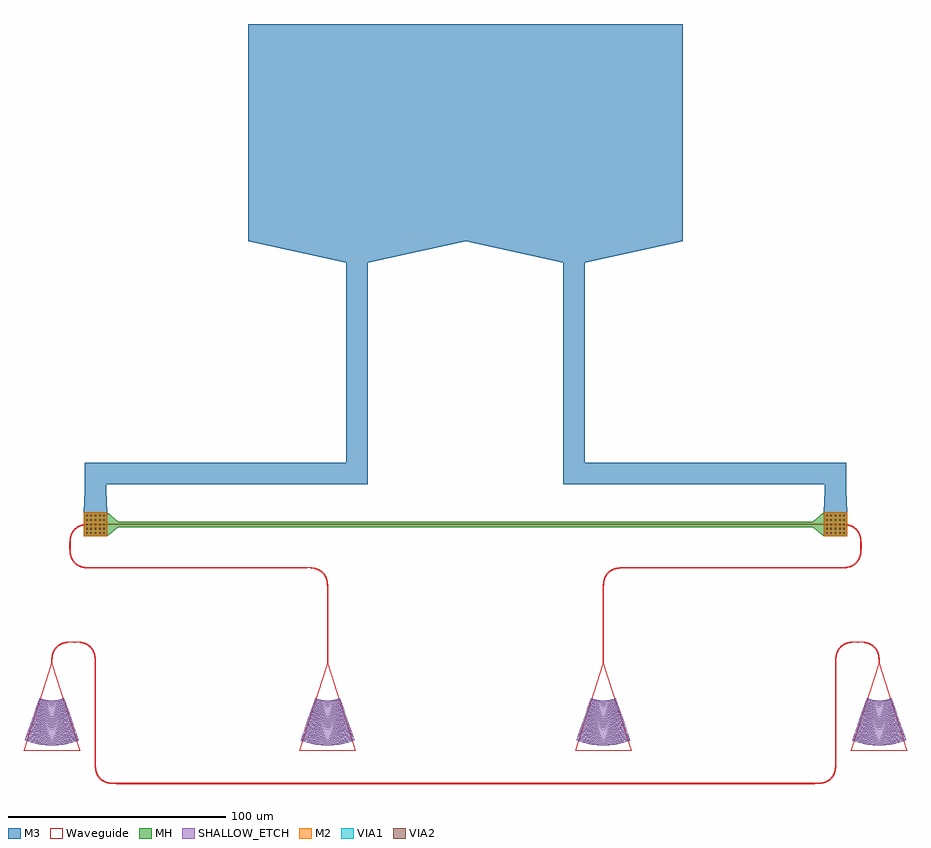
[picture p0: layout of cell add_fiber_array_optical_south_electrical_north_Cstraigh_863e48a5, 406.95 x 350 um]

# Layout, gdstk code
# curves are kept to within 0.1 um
from math import pi, radians
import gdstk
lib = gdstk.Library(unit=1e-6, precision=1e-09)
def R(c, l, rs):  # rectangles x0, y0, x1, y1
    for r in rs: c.add(gdstk.rectangle(r[:2], r[2:], *l))
def A(c, l, x, y, w, h, nx, ny, dx, dy):  # array of equal rectangles
    R(c, l, [(x+i*dx, y+j*dy, x+i*dx+w, y+j*dy+h) for i in range(nx) for j in range(ny)])
def P(c, l, *ps):  # polygons
    for p in ps: c.add(gdstk.Polygon(p, *l))
Waveguide = (1, 0)
SHALLOW_ETCH = (2, 6)
VIA2 = (43, 0)
VIA1 = (44, 0)
M2 = (45, 0)
MH = (47, 0)
M3 = (49, 0)

straight_heater_metal_l3 = lib.new_cell('straight_heater_metal_L320_LUS0_LU5_LS0p1_LSI0p1_CSstri_0c6e0cb8')
R(straight_heater_metal_l3, Waveguide, [(0,-0.25,320,0.25)])
A(straight_heater_metal_l3, VIA2, -14.75, -4.35, 0.7, 0.7, 5, 5, 2, 2)
A(straight_heater_metal_l3, VIA2, 326.05, -4.35, 0.7, 0.7, 5, 5, 2, 2)
A(straight_heater_metal_l3, VIA1, -14.75, -4.35, 0.7, 0.7, 5, 5, 2, 2)
A(straight_heater_metal_l3, VIA1, 326.05, -4.35, 0.7, 0.7, 5, 5, 2, 2)
R(straight_heater_metal_l3, M2, [(-15.9,-5.5,-4.9,5.5), (324.9,-5.5,335.9,5.5)])
P(straight_heater_metal_l3, MH, [(-15.9,-5.5),(-15.9,5.5),(-4.9,5.5),(0.1,1.25),(319.9,1.25),(324.9,5.5),(335.9,5.5),(335.9,-5.5),(324.9,-5.5),(319.9,-1.25),(0.1,-1.25),(-4.9,-5.5)])
R(straight_heater_metal_l3, M3, [(-15.9,-5.5,-4.9,5.5), (324.9,-5.5,335.9,5.5)])

grating_coupler_te_pte_t = lib.new_cell('grating_coupler_te_Pte_TL16p6_TA35_TEA9_W1p53_FA15_GLW0_d78374c0')
P(grating_coupler_te_pte_t, Waveguide, [(40.551,-12.973),(0.471,-0.25),(0.471,0.25),(40.551,12.973)])
P(grating_coupler_te_pte_t, SHALLOW_ETCH, [(16.414,-5.811),(16.3,-5.646),(16.82,-4.153),(17.178,-2.617),(17.351,-1.313),(17.409,0),(17.351,1.313),(17.178,2.617),(16.82,4.153),(16.3,5.646),(16.414,5.811),(16.61,5.77),(16.981,4.76),(17.344,3.465),(17.658,1.611),(17.743,0),(17.658,-1.611),(17.344,-3.465),(16.981,-4.76),(16.61,-5.77)],
  [(17.047,-6.03),(16.933,-5.866),(17.473,-4.315),(17.845,-2.718),(18.025,-1.364),(18.085,0),(18.025,1.364),(17.845,2.718),(17.473,4.315),(16.933,5.866),(17.047,6.03),(17.243,5.988),(17.444,5.469),(17.793,4.407),(18.066,3.325),(18.33,1.671),(18.419,0),(18.33,-1.671),(18.066,-3.325),(17.793,-4.407),(17.444,-5.469),(17.243,-5.988)],
  [(17.68,-6.25),(17.566,-6.086),(18.126,-4.477),(18.512,-2.82),(18.699,-1.415),(18.761,0),(18.699,1.415),(18.512,2.82),(18.126,4.477),(17.566,6.086),(17.68,6.25),(17.876,6.208),(17.982,5.94),(18.363,4.846),(18.665,3.729),(19.003,1.733),(19.095,0),(19.003,-1.733),(18.665,-3.729),(18.363,-4.846),(17.982,-5.94),(17.876,-6.208)],
  [(18.313,-6.469),(18.199,-6.304),(18.779,-4.638),(19.179,-2.922),(19.373,-1.466),(19.437,0),(19.373,1.466),(19.179,2.922),(18.779,4.638),(18.199,6.304),(18.313,6.469),(18.509,6.428),(18.619,6.15),(19.013,5.018),(19.326,3.861),(19.676,1.794),(19.771,0),(19.676,-1.794),(19.326,-3.861),(19.013,-5.018),(18.619,-6.15),(18.509,-6.428)],
  [(18.946,-6.689),(18.832,-6.525),(19.432,-4.8),(19.846,-3.024),(20.046,-1.517),(20.113,0),(20.046,1.517),(19.846,3.024),(19.432,4.8),(18.832,6.525),(18.946,6.689),(19.142,6.647),(19.365,6.07),(19.752,4.892),(20.055,3.69),(20.349,1.855),(20.447,0),(20.349,-1.855),(20.055,-3.69),(19.752,-4.892),(19.365,-6.07),(19.142,-6.647)],
  [(19.579,-6.908),(19.465,-6.744),(20.085,-4.961),(20.513,-3.125),(20.72,-1.568),(20.789,0),(20.72,1.568),(20.513,3.125),(20.085,4.961),(19.465,6.744),(19.579,6.908),(19.775,6.866),(20.005,6.27),(20.405,5.053),(20.718,3.812),(21.021,1.917),(21.123,0),(21.021,-1.917),(20.718,-3.812),(20.405,-5.053),(20.005,-6.27),(19.775,-6.866)],
  [(20.212,-7.128),(20.098,-6.964),(20.738,-5.123),(21.18,-3.227),(21.394,-1.619),(21.465,0),(21.394,1.619),(21.18,3.227),(20.738,5.123),(20.098,6.964),(20.212,7.128),(20.408,7.086),(20.646,6.471),(21.058,5.215),(21.381,3.934),(21.694,1.978),(21.799,0),(21.694,-1.978),(21.381,-3.934),(21.058,-5.215),(20.646,-6.471),(20.408,-7.086)],
  [(20.844,-7.347),(20.73,-7.182),(21.391,-5.284),(21.847,-3.329),(22.068,-1.67),(22.141,0),(22.068,1.67),(21.847,3.329),(21.391,5.284),(20.73,7.182),(20.844,7.347),(21.04,7.306),(21.286,6.672),(21.711,5.376),(22.044,4.056),(22.367,2.039),(22.475,0),(22.367,-2.039),(22.044,-4.056),(21.711,-5.376),(21.286,-6.672),(21.04,-7.306)],
  [(21.477,-7.567),(21.363,-7.402),(22.044,-5.446),(22.514,-3.431),(22.741,-1.721),(22.817,0),(22.741,1.721),(22.514,3.431),(22.044,5.446),(21.363,7.402),(21.477,7.567),(21.673,7.526),(21.926,6.871),(22.364,5.538),(22.707,4.177),(23.04,2.1),(23.151,0),(23.04,-2.1),(22.707,-4.177),(22.364,-5.538),(21.926,-6.871),(21.673,-7.526)],
  [(22.11,-7.786),(21.996,-7.621),(22.697,-5.607),(23.181,-3.533),(23.415,-1.773),(23.493,0),(23.415,1.773),(23.181,3.533),(22.697,5.607),(21.996,7.621),(22.11,7.786),(22.306,7.745),(22.566,7.072),(23.017,5.699),(23.37,4.299),(23.712,2.161),(23.827,0),(23.712,-2.161),(23.37,-4.299),(23.017,-5.699),(22.566,-7.072),(22.306,-7.745)],
  [(22.743,-8.006),(22.629,-7.842),(23.35,-5.769),(23.848,-3.634),(24.089,-1.824),(24.169,0),(24.089,1.824),(23.848,3.634),(23.35,5.769),(22.629,7.842),(22.743,8.006),(22.939,7.964),(23.207,7.273),(23.67,5.861),(24.033,4.421),(24.385,2.223),(24.503,0),(24.385,-2.223),(24.033,-4.421),(23.67,-5.861),(23.207,-7.273),(22.939,-7.964)],
  [(23.376,-8.225),(23.262,-8.06),(24.003,-5.93),(24.515,-3.736),(24.763,-1.875),(24.845,0),(24.763,1.875),(24.515,3.736),(24.003,5.93),(23.262,8.06),(23.376,8.225),(23.572,8.184),(23.847,7.474),(24.323,6.022),(24.696,4.543),(25.058,2.284),(25.179,0),(25.058,-2.284),(24.696,-4.543),(24.323,-6.022),(23.847,-7.474),(23.572,-8.184)],
  [(24.009,-8.445),(23.895,-8.28),(24.657,-6.092),(25.182,-3.838),(25.436,-1.926),(25.521,0),(25.436,1.926),(25.182,3.838),(24.657,6.092),(23.895,8.28),(24.009,8.445),(24.205,8.404),(24.619,7.305),(24.977,6.184),(25.359,4.665),(25.731,2.346),(25.855,0),(25.731,-2.346),(25.359,-4.665),(24.977,-6.184),(24.619,-7.305),(24.205,-8.404)],
  [(24.642,-8.664),(24.528,-8.499),(25.31,-6.253),(25.849,-3.94),(26.11,-1.977),(26.197,0),(26.11,1.977),(25.849,3.94),(25.31,6.253),(24.528,8.499),(24.642,8.664),(24.838,8.623),(25.263,7.496),(25.63,6.345),(26.022,4.787),(26.404,2.407),(26.531,0),(26.404,-2.407),(26.022,-4.787),(25.63,-6.345),(25.263,-7.496),(24.838,-8.623)],
  [(25.275,-8.884),(25.161,-8.72),(25.963,-6.415),(26.516,-4.041),(26.784,-2.028),(26.873,0),(26.784,2.028),(26.516,4.041),(25.963,6.415),(25.161,8.72),(25.275,8.884),(25.471,8.842),(25.907,7.686),(26.283,6.507),(26.686,4.908),(27.076,2.468),(27.207,0),(27.076,-2.468),(26.686,-4.908),(26.283,-6.507),(25.907,-7.686),(25.471,-8.842)],
  [(25.908,-9.103),(25.794,-8.939),(26.237,-7.767),(26.616,-6.576),(26.932,-5.367),(27.183,-4.143),(27.458,-2.079),(27.549,0),(27.458,2.079),(27.183,4.143),(26.932,5.367),(26.616,6.576),(26.237,7.767),(25.794,8.939),(25.908,9.103),(26.104,9.061),(26.551,7.877),(26.936,6.668),(27.349,5.03),(27.749,2.529),(27.849,1.266),(27.883,0),(27.849,-1.266),(27.749,-2.529),(27.349,-5.03),(26.936,-6.668),(26.551,-7.877),(26.104,-9.061)],
  [(26.54,-9.323),(26.426,-9.158),(26.88,-7.958),(27.269,-6.738),(27.593,-5.498),(27.85,-4.245),(28.131,-2.13),(28.225,0),(28.131,2.13),(27.85,4.245),(27.593,5.498),(27.269,6.738),(26.88,7.958),(26.426,9.158),(26.54,9.323),(26.736,9.282),(27.194,8.068),(27.706,6.413),(28.012,5.152),(28.25,3.876),(28.422,2.59),(28.524,1.297),(28.559,0),(28.524,-1.297),(28.422,-2.59),(28.25,-3.876),(28.012,-5.152),(27.706,-6.413),(27.194,-8.068),(26.736,-9.282)],
  [(27.173,-9.542),(27.059,-9.377),(27.524,-8.149),(27.922,-6.9),(28.254,-5.63),(28.517,-4.347),(28.805,-2.181),(28.901,0),(28.805,2.181),(28.517,4.347),(28.254,5.63),(27.922,6.9),(27.524,8.149),(27.059,9.377),(27.173,9.542),(27.369,9.501),(27.838,8.259),(28.362,6.565),(28.675,5.274),(28.919,3.968),(29.095,2.652),(29.199,1.328),(29.235,0),(29.199,-1.328),(29.095,-2.652),(28.919,-3.968),(28.675,-5.274),(28.362,-6.565),(27.838,-8.259),(27.369,-9.501)],
  [(27.806,-9.762),(27.692,-9.597),(28.168,-8.339),(28.575,-7.061),(28.914,-5.762),(29.184,-4.448),(29.479,-2.232),(29.577,0),(29.479,2.232),(29.184,4.448),(28.914,5.762),(28.575,7.061),(28.168,8.339),(27.692,9.597),(27.806,9.762),(28.002,9.721),(28.482,8.449),(28.895,7.153),(29.338,5.396),(29.587,4.06),(29.767,2.713),(29.874,1.358),(29.911,0),(29.874,-1.358),(29.767,-2.713),(29.587,-4.06),(29.338,-5.396),(28.895,-7.153),(28.482,-8.449),(28.002,-9.721)],
  [(28.439,-9.981),(28.325,-9.816),(28.812,-8.53),(29.228,-7.223),(29.575,-5.894),(29.851,-4.55),(30.153,-2.283),(30.253,0),(30.153,2.283),(29.851,4.55),(29.575,5.894),(29.228,7.223),(28.812,8.53),(28.325,9.816),(28.439,9.981),(28.635,9.94),(29.126,8.64),(29.548,7.315),(30.001,5.518),(30.256,4.151),(30.44,2.774),(30.549,1.389),(30.587,0),(30.549,-1.389),(30.44,-2.774),(30.256,-4.151),(30.001,-5.518),(29.673,-6.869),(29.126,-8.64),(28.635,-9.94)],
  [(29.072,-10.201),(28.958,-10.037),(29.455,-8.721),(29.881,-7.384),(30.236,-6.026),(30.518,-4.652),(30.826,-2.334),(30.929,0),(30.826,2.334),(30.518,4.652),(30.236,6.026),(29.881,7.384),(29.455,8.721),(28.958,10.037),(29.072,10.201),(29.268,10.159),(29.769,8.831),(30.329,7.02),(30.664,5.639),(30.925,4.243),(31.113,2.836),(31.225,1.42),(31.263,0),(31.225,-1.42),(31.113,-2.836),(30.925,-4.243),(30.664,-5.639),(30.329,-7.02),(29.769,-8.831),(29.268,-10.159)],
  [(29.705,-10.42),(29.591,-10.255),(30.099,-8.912),(30.534,-7.546),(30.897,-6.158),(31.185,-4.754),(31.5,-2.385),(31.605,0),(31.5,2.385),(31.185,4.754),(30.897,6.158),(30.534,7.546),(30.099,8.912),(29.591,10.255),(29.705,10.42),(29.901,10.379),(30.413,9.022),(30.985,7.172),(31.327,5.761),(31.593,4.335),(31.786,2.896),(31.9,1.45),(31.939,0),(31.9,-1.45),(31.786,-2.896),(31.593,-4.335),(31.327,-5.761),(30.985,-7.172),(30.413,-9.022),(29.901,-10.379)],
  [(30.338,-10.64),(30.224,-10.475),(30.743,-9.103),(31.187,-7.707),(31.558,-6.289),(31.852,-4.855),(32.174,-2.437),(32.281,0),(32.174,2.437),(31.852,4.855),(31.558,6.289),(31.187,7.707),(30.743,9.103),(30.224,10.475),(30.338,10.64),(30.534,10.599),(31.057,9.213),(31.641,7.324),(31.99,5.883),(32.262,4.426),(32.458,2.958),(32.575,1.481),(32.615,0),(32.575,-1.481),(32.458,-2.958),(32.262,-4.426),(31.99,-5.883),(31.641,-7.324),(31.057,-9.213),(30.534,-10.599)],
  [(30.971,-10.859),(30.857,-10.695),(31.387,-9.293),(31.84,-7.869),(32.219,-6.421),(32.519,-4.957),(32.848,-2.488),(32.957,0),(32.848,2.488),(32.519,4.957),(32.219,6.421),(31.84,7.869),(31.387,9.293),(30.857,10.695),(30.971,10.859),(31.167,10.817),(31.701,9.403),(32.297,7.476),(32.653,6.005),(32.931,4.518),(33.131,3.019),(33.25,1.512),(33.291,0),(33.25,-1.512),(33.131,-3.019),(32.931,-4.518),(32.653,-6.005),(32.297,-7.476),(31.701,-9.403),(31.167,-10.817)],
  [(31.604,-11.079),(31.49,-10.915),(32.03,-9.484),(32.493,-8.03),(32.879,-6.553),(33.186,-5.059),(33.521,-2.539),(33.633,0),(33.521,2.539),(33.186,5.059),(32.879,6.553),(32.493,8.03),(32.03,9.484),(31.49,10.915),(31.604,11.079),(31.8,11.037),(32.344,9.594),(32.952,7.627),(33.316,6.127),(33.6,4.61),(33.804,3.081),(33.925,1.542),(33.967,0),(33.925,-1.542),(33.804,-3.081),(33.6,-4.61),(33.316,-6.127),(32.952,-7.627),(32.344,-9.594),(31.8,-11.037)],
  [(32.237,-11.298),(32.123,-11.133),(32.674,-9.675),(33.146,-8.192),(33.54,-6.685),(33.853,-5.161),(34.195,-2.59),(34.309,0),(34.195,2.59),(33.853,5.161),(33.54,6.685),(33.146,8.192),(32.674,9.675),(32.123,11.133),(32.237,11.298),(32.433,11.257),(32.988,9.785),(33.608,7.779),(33.979,6.249),(34.268,4.701),(34.477,3.142),(34.601,1.573),(34.643,0),(34.601,-1.573),(34.477,-3.142),(34.268,-4.701),(33.979,-6.249),(33.608,-7.779),(32.988,-9.785),(32.433,-11.257)],
  [(32.869,-11.518),(32.755,-11.353),(33.318,-9.866),(33.799,-8.353),(34.201,-6.817),(34.52,-5.262),(34.869,-2.641),(34.985,0),(34.869,2.641),(34.52,5.262),(34.201,6.817),(33.799,8.353),(33.318,9.866),(32.755,11.353),(32.869,11.518),(33.065,11.477),(33.632,9.976),(34.264,7.931),(34.642,6.37),(34.937,4.793),(35.149,3.203),(35.276,1.604),(35.319,0),(35.276,-1.604),(35.149,-3.203),(34.937,-4.793),(34.642,-6.37),(34.264,-7.931),(33.632,-9.976),(33.065,-11.477)],
  [(33.502,-11.738),(33.388,-11.573),(33.962,-10.056),(34.453,-8.515),(34.862,-6.949),(35.187,-5.364),(35.543,-2.692),(35.661,0),(35.543,2.692),(35.187,5.364),(34.862,6.949),(34.453,8.515),(33.962,10.056),(33.388,11.573),(33.502,11.738),(33.698,11.697),(34.276,10.166),(34.773,8.607),(35.305,6.492),(35.606,4.885),(35.822,3.264),(35.951,1.634),(35.995,0),(35.951,-1.634),(35.822,-3.264),(35.606,-4.885),(35.305,-6.492),(34.773,-8.607),(34.276,-10.166),(33.698,-11.697)],
  [(34.135,-11.957),(34.021,-11.792),(34.605,-10.247),(35.106,-8.676),(35.523,-7.08),(35.854,-5.466),(36.216,-2.743),(36.337,0),(36.216,2.743),(35.854,5.466),(35.523,7.08),(35.106,8.676),(34.605,10.247),(34.021,11.792),(34.135,11.957),(34.331,11.916),(34.919,10.357),(35.576,8.233),(35.968,6.614),(36.274,4.976),(36.495,3.325),(36.626,1.665),(36.671,0),(36.626,-1.665),(36.495,-3.325),(36.274,-4.976),(35.968,-6.614),(35.576,-8.233),(34.919,-10.357),(34.331,-11.916)],
  [(34.768,-12.177),(34.654,-12.013),(35.249,-10.438),(35.759,-8.838),(36.183,-7.212),(36.521,-5.568),(36.89,-2.794),(37.013,0),(36.89,2.794),(36.521,5.568),(36.183,7.212),(35.759,8.838),(35.249,10.438),(34.654,12.013),(34.768,12.177),(34.964,12.135),(35.563,10.548),(36.232,8.385),(36.631,6.736),(36.943,5.068),(37.168,3.387),(37.301,1.696),(37.347,0),(37.301,-1.696),(37.168,-3.387),(36.943,-5.068),(36.631,-6.736),(36.232,-8.385),(35.563,-10.548),(34.964,-12.135)],
  [(35.401,-12.396),(35.287,-12.231),(35.893,-10.629),(36.412,-8.999),(36.844,-7.344),(37.188,-5.669),(37.564,-2.845),(37.689,0),(37.564,2.845),(37.188,5.669),(36.844,7.344),(36.412,8.999),(35.893,10.629),(35.287,12.231),(35.401,12.396),(35.597,12.355),(36.207,10.739),(36.732,9.091),(37.295,6.858),(37.612,5.16),(37.84,3.448),(37.977,1.726),(38.023,0),(37.977,-1.726),(37.84,-3.448),(37.612,-5.16),(37.295,-6.858),(36.732,-9.091),(36.207,-10.739),(35.597,-12.355)])

bend_euler_rnone_a90_p0p = lib.new_cell('bend_euler_RNone_A90_P0p5_WAFTrue_NNone_ASNone_LNone_WN_f1f833fb')
P(bend_euler_rnone_a90_p0p, Waveguide, [(0,-0.25),(0,0.25),(2.881,0.353),(3.952,0.52),(4.99,0.806),(6.431,1.505),(7.575,2.425),(8.495,3.569),(9.194,5.01),(9.48,6.048),(9.647,7.119),(9.75,10),(10.25,10),(10.158,7.205),(9.797,5.254),(9.457,4.312),(9.066,3.545),(8.5,2.715),(7.928,2.072),(7.285,1.5),(6.455,0.934),(5.688,0.543),(4.746,0.203),(2.795,-0.158)])

straight_l12p15_n2_csstr = lib.new_cell('straight_L12p15_N2_CSstrip_W0p5')
R(straight_l12p15_n2_csstr, Waveguide, [(0,-0.25,12.15,0.25)])

straight_l98p65_n2_csstr = lib.new_cell('straight_L98p65_N2_CSstrip_W0p5')
R(straight_l98p65_n2_csstr, Waveguide, [(0,-0.25,98.65,0.25)])

straight_l34p22100000000 = lib.new_cell('straight_L34p221000000000004_N2_CSstrip_W0p5')
R(straight_l34p22100000000, Waveguide, [(0,-0.25,34.221,0.25)])

straight_l45p08_n2_csstr = lib.new_cell('straight_L45p08_N2_CSstrip_W0p5')
R(straight_l45p08_n2_csstr, Waveguide, [(0,-0.25,45.08,0.25)])

straight_l321_n2_csstrip = lib.new_cell('straight_L321_N2_CSstrip_W0p5')
R(straight_l321_n2_csstrip, Waveguide, [(0,-0.25,321,0.25)])

unnamed_44 = lib.new_cell('Unnamed_44')
unnamed_44.add(gdstk.Reference(straight_heater_metal_l3, (0,0)))
unnamed_44.add(gdstk.Reference(grating_coupler_te_pte_t, (96.5,-63.75), rotation=3*pi/2))
unnamed_44.add(gdstk.Reference(grating_coupler_te_pte_t, (223.5,-63.75), rotation=3*pi/2))
unnamed_44.add(gdstk.Reference(grating_coupler_te_pte_t, (-30.5,-63.75), rotation=3*pi/2))
unnamed_44.add(gdstk.Reference(grating_coupler_te_pte_t, (350.5,-63.75), rotation=3*pi/2))
unnamed_44.add(gdstk.Reference(bend_euler_rnone_a90_p0p, (-22.15,-10), rotation=pi/2, x_reflection=True))
unnamed_44.add(gdstk.Reference(straight_l12p15_n2_csstr, (0,0), rotation=pi))
unnamed_44.add(gdstk.Reference(bend_euler_rnone_a90_p0p, (-12.15,-20), rotation=pi, x_reflection=True))
unnamed_44.add(gdstk.Reference(bend_euler_rnone_a90_p0p, (96.5,-30), rotation=pi/2))
unnamed_44.add(gdstk.Reference(straight_l98p65_n2_csstr, (-12.15,-20)))
unnamed_44.add(gdstk.Reference(straight_l34p22100000000, (96.5,-30), rotation=3*pi/2))
unnamed_44.add(gdstk.Reference(bend_euler_rnone_a90_p0p, (342.15,-10), rotation=pi/2))
unnamed_44.add(gdstk.Reference(straight_l12p15_n2_csstr, (320,0)))
unnamed_44.add(gdstk.Reference(bend_euler_rnone_a90_p0p, (332.15,-20)))
unnamed_44.add(gdstk.Reference(bend_euler_rnone_a90_p0p, (223.5,-30), rotation=pi/2, x_reflection=True))
unnamed_44.add(gdstk.Reference(straight_l98p65_n2_csstr, (332.15,-20), rotation=pi))
unnamed_44.add(gdstk.Reference(straight_l34p22100000000, (223.5,-30), rotation=3*pi/2))
unnamed_44.add(gdstk.Reference(bend_euler_rnone_a90_p0p, (-20.5,-54.221), rotation=pi))
unnamed_44.add(gdstk.Reference(bend_euler_rnone_a90_p0p, (-10.5,-64.221), rotation=pi/2))
unnamed_44.add(gdstk.Reference(bend_euler_rnone_a90_p0p, (-0.5,-119.301), rotation=pi, x_reflection=True))
unnamed_44.add(gdstk.Reference(straight_l45p08_n2_csstr, (-10.5,-64.221), rotation=3*pi/2))
unnamed_44.add(gdstk.Reference(bend_euler_rnone_a90_p0p, (330.5,-109.301), rotation=3*pi/2, x_reflection=True))
unnamed_44.add(gdstk.Reference(straight_l321_n2_csstrip, (-0.5,-119.301)))
unnamed_44.add(gdstk.Reference(bend_euler_rnone_a90_p0p, (340.5,-54.221), rotation=pi))
unnamed_44.add(gdstk.Reference(straight_l45p08_n2_csstr, (330.5,-109.301), rotation=pi/2))
unnamed_44.add(gdstk.Reference(bend_euler_rnone_a90_p0p, (350.5,-64.221), rotation=pi/2))

pad_s100_100_lmtop_blnon = lib.new_cell('pad_S100_100_LMTOP_BLNone_BONone_PI0_PO0_PO180_90_0_m90_PTpad')
R(pad_s100_100_lmtop_blnon, M3, [(-50,-50,50,50)])

array_gdsfactorypcompone = lib.new_cell('array_gdsfactorypcomponentspcontainersparray_component__5a3bc366')
r = gdstk.Reference(pad_s100_100_lmtop_blnon, (0,0)); r.repetition = gdstk.Repetition(2, 1, v1=(100,0), v2=(0,0)); array_gdsfactorypcompone.add(r)

taper_electrical_l10_w11 = lib.new_cell('taper_electrical_L10_W11_W10_LNone_PNone_WTPTrue_CSmeta_5c6ffe1a')
P(taper_electrical_l10_w11, M3, [(0,-5.5),(0,5.5),(10,5),(10,-5)])

taper_electrical_l10_w10 = lib.new_cell('taper_electrical_L10_W100_W10_LNone_PNone_WTPTrue_CSmet_5c48b2f5')
P(taper_electrical_l10_w10, M3, [(0,-50),(0,50),(10,5),(10,-5)])

wire_corner_csmetal_rout = lib.new_cell('wire_corner_CSmetal_routing_PNe1_e2_PTelectrical_electr_fd3395c0')
R(wire_corner_csmetal_rout, M3, [(-5,-5,5,5)])

straight_l3_n2_csmetal_r = lib.new_cell('straight_L3_N2_CSmetal_routing_W10')
R(straight_l3_n2_csmetal_r, M3, [(0,-5,3,5)])

straight_l110p4_n2_csmet = lib.new_cell('straight_L110p4_N2_CSmetal_routing_W10')
R(straight_l110p4_n2_csmet, M3, [(0,-5,110.4,5)])

straight_l91p949_n2_csme = lib.new_cell('straight_L91p949_N2_CSmetal_routing_W10')
R(straight_l91p949_n2_csme, M3, [(0,-5,91.949,5)])

add_fiber_array_optical_ = lib.new_cell('add_fiber_array_optical_south_electrical_north_Cstraigh_863e48a5')
add_fiber_array_optical_.add(gdstk.Reference(unnamed_44, (0,0)))
add_fiber_array_optical_.add(gdstk.Reference(array_gdsfactorypcompone, (110,180.449)))
add_fiber_array_optical_.add(gdstk.Reference(taper_electrical_l10_w11, (-10.4,5.5), rotation=pi/2))
add_fiber_array_optical_.add(gdstk.Reference(taper_electrical_l10_w11, (330.4,5.5), rotation=pi/2))
add_fiber_array_optical_.add(gdstk.Reference(taper_electrical_l10_w10, (110,130.449), rotation=3*pi/2))
add_fiber_array_optical_.add(gdstk.Reference(taper_electrical_l10_w10, (210,130.449), rotation=3*pi/2))
add_fiber_array_optical_.add(gdstk.Reference(wire_corner_csmetal_rout, (330.4,23.5), x_reflection=True))
add_fiber_array_optical_.add(gdstk.Reference(straight_l3_n2_csmetal_r, (330.4,15.5), rotation=pi/2))
add_fiber_array_optical_.add(gdstk.Reference(wire_corner_csmetal_rout, (210,23.5), rotation=3*pi/2))
add_fiber_array_optical_.add(gdstk.Reference(straight_l110p4_n2_csmet, (325.4,23.5), rotation=pi))
add_fiber_array_optical_.add(gdstk.Reference(straight_l91p949_n2_csme, (210,28.5), rotation=pi/2))
add_fiber_array_optical_.add(gdstk.Reference(wire_corner_csmetal_rout, (-10.4,23.5), rotation=pi))
add_fiber_array_optical_.add(gdstk.Reference(straight_l3_n2_csmetal_r, (-10.4,15.5), rotation=pi/2))
add_fiber_array_optical_.add(gdstk.Reference(wire_corner_csmetal_rout, (110,23.5), rotation=3*pi/2, x_reflection=True))
add_fiber_array_optical_.add(gdstk.Reference(straight_l110p4_n2_csmet, (-5.4,23.5)))
add_fiber_array_optical_.add(gdstk.Reference(straight_l91p949_n2_csme, (110,28.5), rotation=pi/2))

lib.write_gds('add_fiber_array_optical_south_electrical_north_Cstraigh_863e48a5.gds')
